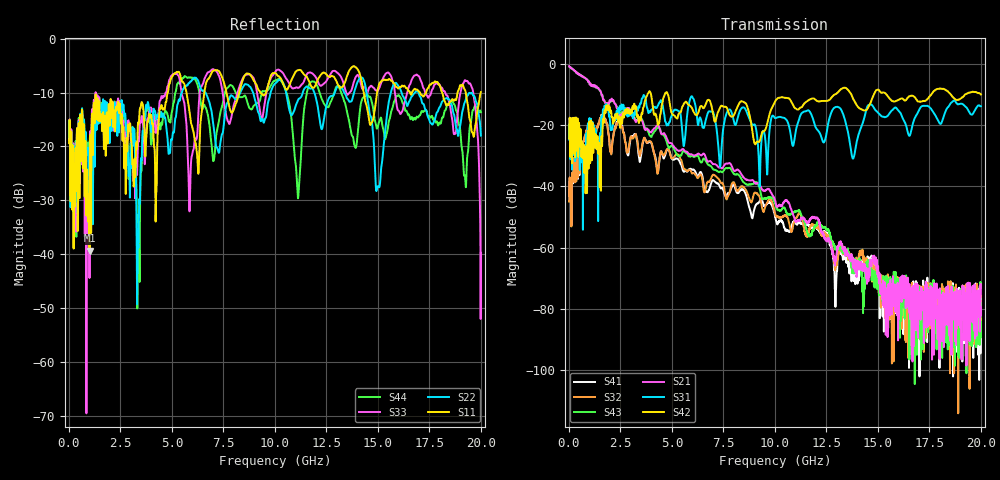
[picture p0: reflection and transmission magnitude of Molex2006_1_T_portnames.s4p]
! Port[1] = P1
! Port[2] = P2
! Port[3] = P3
! Port[4] = P4
# MHz S MA R 50.00
! FREQ  S11  S12  S13  S14
!  S21  S22  S23  S24
!  S31  S32  S33  S34
!  S41  S42  S43  S44
!  MAG  ANG  MAG  ANG  MAG  ANG  MAG  ANG
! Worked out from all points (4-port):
!   2000 points, 10 MHz to 20 GHz, reference 50 ohm
!   strongest paths, dB at 10 MHz, 5.01 GHz, 10.01 GHz, 15.01 GHz, 20 GHz:
!     S42: -24.4, -16.2, -12.3, -8.4, -10.0
!     S31: -24.7, -16.3, -17.7, -15.9, -13.8
!     S21: -0.8, -26.1, -44.5, -66.0, -71.9
!     S43: -0.8, -26.8, -45.6, -72.5, -84.3
!     S32: -45.0, -30.9, -48.8, -71.1, -77.5
!     S41: -43.0, -31.1, -49.9, -70.8, -76.8
!   lowest |S11| = -39.4 dB at 1 GHz (marker M1), VSWR 1.02, Z = 49.1 - j0.578 ohm
!   |S11| at or under -10 dB: start of sweep to 4.801 GHz; 5.709 GHz to 6.571 GHz (861.9 MHz wide, 14 % of centre); 18.12 GHz to 18.87 GHz (748.5 MHz wide, 4.05 % of centre)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
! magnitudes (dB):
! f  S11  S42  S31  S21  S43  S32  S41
! 10 MHz  -19.4  -24.4  -24.7  -0.8  -0.8  -45.0  -43.0
! 1 GHz  -39.4  -18.7  -17.7  -6.5  -6.4  -19.5  -19.4
! 3.37 GHz  -15.5  -17.8  -14.0  -17.7  -17.6  -27.9  -29.1
! 5.24 GHz  -6.2  -17.7  -15.1  -28.1  -29.7  -29.5  -30.9
! 5.88 GHz  -14.2  -13.7  -11.5  -29.6  -30.3  -34.6  -34.3
! 19.28 GHz  -10.5  -9.8  -14.1  -75.1  -86.7  -80.7  -82.3
! 20 GHz  -9.9  -10.0  -13.8  -71.9  -84.3  -77.5  -76.8
